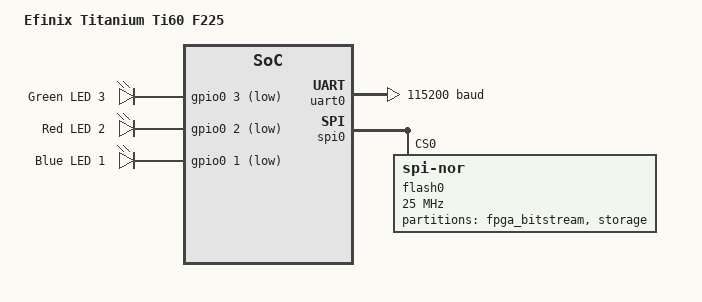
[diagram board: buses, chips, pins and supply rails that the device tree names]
/*
 * Copyright (c) 2023 Efinix Inc.
 *
 * SPDX-License-Identifier: Apache-2.0
 */

/dts-v1/;

#include <efinix/sapphire_soc.dtsi>

/ {
	model = "Efinix Titanium Ti60 F225";
	compatible = "efinix,titanium-ti60-f225";

	chosen {
		zephyr,console = &uart0;
		zephyr,shell-uart = &uart0;
		zephyr,sram = &ram0;
	};

	aliases {
		led0 = &green_led;
	};

	leds {
		compatible = "gpio-leds";

		green_led: led_0 {
			gpios = <&gpio0 3 GPIO_ACTIVE_LOW>;
			label = "Green LED 3";
		};

		red_led: led_1 {
			gpios = <&gpio0 2 GPIO_ACTIVE_LOW>;
			label = "Red LED 2";
		};

		blue_led: led_2 {
			gpios = <&gpio0 1 GPIO_ACTIVE_LOW>;
			label = "Blue LED 1";
		};
	};
};

&uart0 {
	status = "okay";
	current-speed = <115200>;
};

&gpio0 {
	status = "okay";
};

&spi0 {
	status = "okay";

	flash0: flash@0 {
		compatible = "jedec,spi-nor";
		reg = <0>;
		spi-max-frequency = <DT_FREQ_M(25)>;
		jedec-id = [ef 60 17];
		size = <DT_SIZE_M(64)>;

		partitions {
			compatible = "fixed-partitions";
			#address-cells = <1>;
			#size-cells = <1>;

			fpga_bitstream_partition: partition@0 {
				label = "fpga_bitstream";
				reg = <0x0 0x380000>;
				read-only;
			};

			storage_partition: partition@7f0000 {
				label = "storage";
				reg = <0x7f0000 0x10000>;
			};
		};
	};
};
